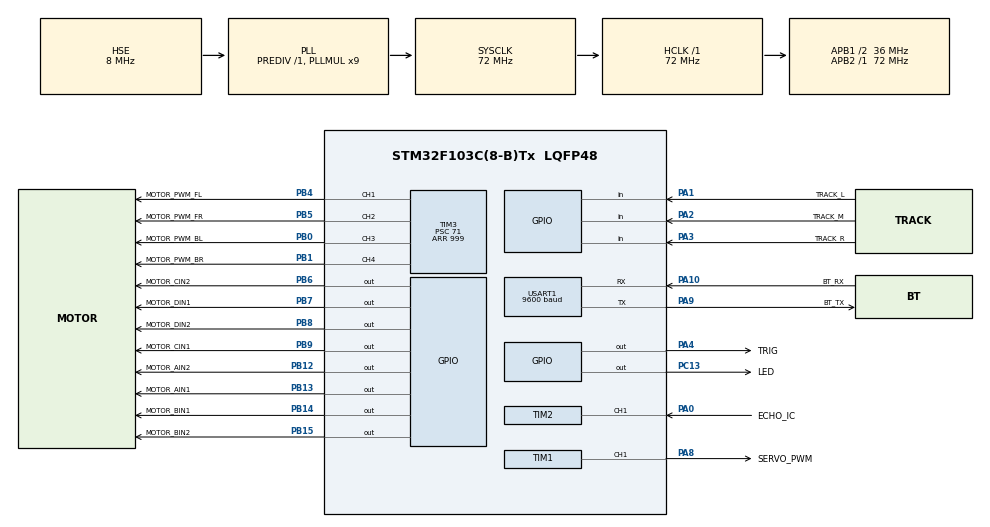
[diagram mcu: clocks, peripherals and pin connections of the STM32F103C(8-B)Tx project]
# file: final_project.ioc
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Mcu.Family=STM32F1
Mcu.Name=STM32F103C(8-B)Tx
Mcu.Package=LQFP48
NVIC.PriorityGroup=NVIC_PRIORITYGROUP_4
NVIC.TIM2_IRQn=true\:0\:0\:false\:false\:true\:true\:true\:true
NVIC.USART1_IRQn=true\:0\:0\:false\:false\:true\:true\:true\:true
PA0-WKUP.GPIO_Label=ECHO_IC
PA0-WKUP.Signal=S_TIM2_CH1_ETR
PA1.GPIO_Label=TRACK_L
PA1.Signal=GPIO_Input
PA10.GPIO_Label=BT_RX
PA10.Mode=Asynchronous
PA10.Signal=USART1_RX
PA13.Mode=Serial_Wire
PA13.Signal=SYS_JTMS-SWDIO
PA14.Mode=Serial_Wire
PA14.Signal=SYS_JTCK-SWCLK
PA2.GPIO_Label=TRACK_M
PA2.Signal=GPIO_Input
PA3.GPIO_Label=TRACK_R
PA3.Signal=GPIO_Input
PA4.GPIO_Label=TRIG
PA4.Signal=GPIO_Output
PA8.GPIO_Label=SERVO_PWM
PA8.Signal=S_TIM1_CH1
PA9.GPIO_Label=BT_TX
PA9.Mode=Asynchronous
PA9.Signal=USART1_TX
PB0.GPIO_Label=MOTOR_PWM_BL
PB0.Signal=S_TIM3_CH3
PB1.GPIO_Label=MOTOR_PWM_BR
PB1.Signal=S_TIM3_CH4
PB12.GPIO_Label=MOTOR_AIN2
PB12.Signal=GPIO_Output
PB13.GPIO_Label=MOTOR_AIN1
PB13.Signal=GPIO_Output
PB14.GPIO_Label=MOTOR_BIN1
PB14.Signal=GPIO_Output
PB15.GPIO_Label=MOTOR_BIN2
PB15.Signal=GPIO_Output
PB4.GPIO_Label=MOTOR_PWM_FL
PB4.Signal=S_TIM3_CH1
PB5.GPIO_Label=MOTOR_PWM_FR
PB5.Signal=S_TIM3_CH2
PB6.GPIO_Label=MOTOR_CIN2
PB6.Signal=GPIO_Output
PB7.GPIO_Label=MOTOR_DIN1
PB7.Signal=GPIO_Output
PB8.GPIO_Label=MOTOR_DIN2
PB8.Signal=GPIO_Output
PB9.GPIO_Label=MOTOR_CIN1
PB9.Signal=GPIO_Output
PC13-TAMPER-RTC.GPIO_Label=LED
PC13-TAMPER-RTC.Signal=GPIO_Output
PD0-OSC_IN.Mode=HSE-External-Oscillator
PD0-OSC_IN.Signal=RCC_OSC_IN
PD1-OSC_OUT.Mode=HSE-External-Oscillator
PD1-OSC_OUT.Signal=RCC_OSC_OUT
ProjectManager.HeapSize=0x200
ProjectManager.StackSize=0x400
ProjectManager.TargetToolchain=MDK-ARM V5
RCC.AHBFreq_Value=72000000
RCC.APB1CLKDivider=RCC_HCLK_DIV2
RCC.APB1Freq_Value=36000000
RCC.APB1TimFreq_Value=72000000
RCC.APB2Freq_Value=72000000
RCC.APB2TimFreq_Value=72000000
RCC.HCLKFreq_Value=72000000
RCC.PLLMUL=RCC_PLL_MUL9
RCC.PLLSourceVirtual=RCC_PLLSOURCE_HSE
RCC.SYSCLKFreq_VALUE=72000000
RCC.SYSCLKSource=RCC_SYSCLKSOURCE_PLLCLK
RCC.USBFreq_Value=72000000
SH.S_TIM1_CH1.0=TIM1_CH1,PWM Generation1 CH1
SH.S_TIM2_CH1_ETR.0=TIM2_CH1,Input_Capture1_from_TI1
SH.S_TIM3_CH1.0=TIM3_CH1,PWM Generation1 CH1
SH.S_TIM3_CH2.0=TIM3_CH2,PWM Generation2 CH2
SH.S_TIM3_CH3.0=TIM3_CH3,PWM Generation3 CH3
SH.S_TIM3_CH4.0=TIM3_CH4,PWM Generation4 CH4
TIM1.Channel-PWM\ Generation1\ CH1=TIM_CHANNEL_1
TIM1.Prescaler=719
TIM2.Channel-Input_Capture1_from_TI1=TIM_CHANNEL_1
TIM3.Channel-PWM\ Generation1\ CH1=TIM_CHANNEL_1
TIM3.Channel-PWM\ Generation2\ CH2=TIM_CHANNEL_2
TIM3.Channel-PWM\ Generation3\ CH3=TIM_CHANNEL_3
TIM3.Channel-PWM\ Generation4\ CH4=TIM_CHANNEL_4
TIM3.Period=999
TIM3.Prescaler=71
USART1.BaudRate=9600
USART1.VirtualMode=VM_ASYNC
VP_TIM1_VS_ClockSourceINT.Mode=Internal
VP_TIM3_VS_ClockSourceINT.Mode=Internal
board=custom

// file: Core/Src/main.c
/* USER CODE BEGIN Header */
/**
  ******************************************************************************
  * @file           : main.c
  * @brief          : Main program body
  ******************************************************************************
  * @attention
  *
  * Copyright (c) 2024 STMicroelectronics.
  * All rights reserved.
  *
  * This software is licensed under terms that can be found in the LICENSE file
  * in the root directory of this software component.
  * If no LICENSE file comes with this software, it is provided AS-IS.
  *
  ******************************************************************************
  */
/* USER CODE END Header */
#include "main.h"
#include "tim.h"
#include "usart.h"
#include "gpio.h"

/* USER CODE BEGIN Includes */
#include "motor.h"
#include "obstacle.h"
#include "track.h"
#include "remote.h"
#include <stdio.h>
#include <string.h>
/* USER CODE END Includes */

/* USER CODE BEGIN PTD */
// 定义小车的工作模式
typedef enum {
    MODE_REMOTE, // 手动遥控模式
    MODE_AVOID,  // 纯避障模式
    MODE_TRACK   // 纯循迹模式
} Car_Mode_t;

// 定义自动模式下的运行状态 (用于避障模式的启停)
typedef enum {
    AUTO_STATE_STOP,
    AUTO_STATE_RUN
} Auto_State_t;

// 定义避障过程的详细状态
typedef enum {
    AVOID_STATE_IDLE,       // 0. 空闲/前进状态
    AVOID_STATE_STOPPING,   // 1. 发现障碍物，正在停车
    AVOID_STATE_SCANNING,   // 2. 正在扫描
    AVOID_STATE_DECIDING,   // 3. 正在决策
    AVOID_STATE_TURNING,    // 4. 正在转向
    AVOID_STATE_BACKING,    // 5. 正在后退
    AVOID_STATE_RECHECK     // 6. 转向/后退后，重新检查
} Avoid_State_t;
/* USER CODE END PTD */

/* USER CODE BEGIN PD */
#define OBSTACLE_DISTANCE_THRESHOLD  15.0f  // 避障触发距离 (cm)
#define DISTANCE_SEND_INTERVAL_MS    500
/* USER CODE END PD */

/* USER CODE BEGIN PV */

// 定义全局变量来存储当前的工作模式和状态
volatile Car_Mode_t g_car_mode = MODE_REMOTE;
volatile Auto_State_t g_auto_state = AUTO_STATE_STOP;
static uint32_t last_distance_send_tick = 0; // +++ ADD: 用于记录上次发送时间的变量

// 避障状态机相关全局变量
volatile Avoid_State_t g_avoid_state = AVOID_STATE_IDLE;
uint32_t g_state_timer = 0; // 用于状态计时的软件定时器
float g_dist_left, g_dist_center, g_dist_right; // 存储扫描结果
static int8_t g_last_avoid_turn = 1; // +++ ADD: 用于记录上一次避障转向 (1=右, -1=左)
/* USER CODE END PV */

void SystemClock_Config(void);
/* USER CODE BEGIN PFP */
void Handle_Mode_Switch(Remote_Command_t command);
void Perform_Remote_Control(Remote_Command_t command);
void Perform_Avoid_Mode(Remote_Command_t command);
void Perform_Track_Mode(void);
void Send_Distance_Data(float distance); // +++ ADD: 声明新的数据发送函数
/* USER CODE END PFP */

int main(void)
{

  /* MCU Configuration--------------------------------------------------------*/

  /* Reset of all peripherals, Initializes the Flash interface and the Systick. */
  HAL_Init();

  /* Configure the system clock */
  SystemClock_Config();

  /* Initialize all configured peripherals */
  MX_GPIO_Init();
  MX_TIM1_Init();
  MX_TIM2_Init();
  MX_TIM3_Init();
  MX_USART1_UART_Init();
  /* USER CODE BEGIN 2 */

  Motor_Init();
  Obstacle_Init();
  Remote_Init();
  Car_Stop();

  /* USER CODE END 2 */

  /* Infinite loop */
  while (1)
  {

    /* USER CODE BEGIN 3 */
    Remote_Command_t command = Remote_Get_Command();
    // 1. 模式切换逻辑 (最高优先级)
    Handle_Mode_Switch(command);

    // 2. 根据当前模式执行对应的任务
    switch(g_car_mode)
    {
        case MODE_REMOTE:
            Perform_Remote_Control(command);
            break;
        case MODE_AVOID:
            Perform_Avoid_Mode(command);
            break;
        case MODE_TRACK:
            Perform_Track_Mode();
            break;
    }

    HAL_Delay(20);
  }
  /* USER CODE END 3 */
}

void SystemClock_Config(void)
{
  RCC_OscInitTypeDef RCC_OscInitStruct = {0};
  RCC_ClkInitTypeDef RCC_ClkInitStruct = {0};

  /** Initializes the RCC Oscillators according to the specified parameters
  * in the RCC_OscInitTypeDef structure.
  */
  RCC_OscInitStruct.OscillatorType = RCC_OSCILLATORTYPE_HSE;
  RCC_OscInitStruct.HSEState = RCC_HSE_ON;
  RCC_OscInitStruct.HSEPredivValue = RCC_HSE_PREDIV_DIV1;
  RCC_OscInitStruct.HSIState = RCC_HSI_ON;
  RCC_OscInitStruct.PLL.PLLState = RCC_PLL_ON;
  RCC_OscInitStruct.PLL.PLLSource = RCC_PLLSOURCE_HSE;
  RCC_OscInitStruct.PLL.PLLMUL = RCC_PLL_MUL9;
  if (HAL_RCC_OscConfig(&RCC_OscInitStruct) != HAL_OK)
  {
    Error_Handler();
  }

  /** Initializes the CPU, AHB and APB buses clocks
  */
  RCC_ClkInitStruct.ClockType = RCC_CLOCKTYPE_HCLK|RCC_CLOCKTYPE_SYSCLK
                              |RCC_CLOCKTYPE_PCLK1|RCC_CLOCKTYPE_PCLK2;
  RCC_ClkInitStruct.SYSCLKSource = RCC_SYSCLKSOURCE_PLLCLK;
  RCC_ClkInitStruct.AHBCLKDivider = RCC_SYSCLK_DIV1;
  RCC_ClkInitStruct.APB1CLKDivider = RCC_HCLK_DIV2;
  RCC_ClkInitStruct.APB2CLKDivider = RCC_HCLK_DIV1;

  if (HAL_RCC_ClockConfig(&RCC_ClkInitStruct, FLASH_LATENCY_2) != HAL_OK)
  {
    Error_Handler();
  }
}

/* USER CODE BEGIN 4 */

/**
  * @brief  处理模式切换的逻辑
  */
void Handle_Mode_Switch(Remote_Command_t command)
{
    // 收到 '1' 指令 -> 切换到循迹模式
    if (command == CMD_MODE_TRACK) {
        if (g_car_mode != MODE_TRACK) {
            g_car_mode = MODE_TRACK;
            g_auto_state = AUTO_STATE_RUN; // 循迹模式默认启动
            g_avoid_state = AVOID_STATE_IDLE; // <-- 增加
            Car_Stop();
            HAL_Delay(100);
        }
    }
    // 收到 '2' 指令 -> 切换到避障模式
    else if (command == CMD_MODE_AVOID) {
        if (g_car_mode != MODE_AVOID) {
            g_car_mode = MODE_AVOID;
            g_auto_state = AUTO_STATE_STOP; // 避障模式默认停止
            g_avoid_state = AVOID_STATE_IDLE; // 重置避障状态机
            Car_Stop();
            HAL_Delay(100);
        }
    }
    // 收到任何方向键 (L, R, G, H, B)，强制切回遥控模式
    else if ((command >= CMD_TURN_LEFT && command <= CMD_SPIN_RIGHT) || command == CMD_BACKWARD) {
        if (g_car_mode != MODE_REMOTE) {
            g_car_mode = MODE_REMOTE;
            g_auto_state = AUTO_STATE_STOP;
            Car_Stop();
        }
    }
}

/**
  * @brief  执行遥控模式的逻辑
  */
void Perform_Remote_Control(Remote_Command_t command)
{
    switch(command) {
        case CMD_FORWARD:    Car_Forward(900); break;
        case CMD_BACKWARD:   Car_Backward(700); break;
        case CMD_TURN_LEFT:  Car_Turn_Left(600); break;
        case CMD_TURN_RIGHT: Car_Turn_Right(600); break;
        case CMD_SPIN_LEFT:  Car_Spin_Left(600); break;
        case CMD_SPIN_RIGHT: Car_Spin_Right(600); break;
        case CMD_STOP:       Car_Stop(); break;
        default: break;
    }
}

/**
  * @brief  执行纯避障模式的逻辑 (非阻塞状态机 + 智能决策)
  * @param  command: 蓝牙指令
  */
void Perform_Avoid_Mode(Remote_Command_t command)
{
    // 1. 启停控制
    if (command == CMD_FORWARD) {
        if (g_auto_state == AUTO_STATE_STOP) {
            g_auto_state = AUTO_STATE_RUN;
            g_avoid_state = AVOID_STATE_IDLE;
        }
    } else if (command == CMD_STOP) {
        if (g_auto_state == AUTO_STATE_RUN) {
            g_auto_state = AUTO_STATE_STOP;
            g_avoid_state = AVOID_STATE_IDLE;
            Car_Stop();
        }
    }

    if (g_auto_state == AUTO_STATE_STOP) return;

    // --- 避障状态机核心 ---
    switch(g_avoid_state)
    {
        case AVOID_STATE_IDLE:
        {
            Car_Forward(600);
            float distance = Obstacle_GetDistance();

            if (HAL_GetTick() - last_distance_send_tick > DISTANCE_SEND_INTERVAL_MS) {
                Send_Distance_Data(distance);
                last_distance_send_tick = HAL_GetTick();
            }

            if (distance > 0 && distance < OBSTACLE_DISTANCE_THRESHOLD) {
                g_avoid_state = AVOID_STATE_STOPPING;
            }
            break;
        }

        case AVOID_STATE_STOPPING:
        {
            Car_Stop();
            g_state_timer = HAL_GetTick();
            g_avoid_state = AVOID_STATE_SCANNING;
            break;
        }

        case AVOID_STATE_SCANNING:
        {
            if (HAL_GetTick() - g_state_timer > 200) {
                Obstacle_Scan(&g_dist_left, &g_dist_center, &g_dist_right);
                g_avoid_state = AVOID_STATE_DECIDING;
            }
            break;
        }

        case AVOID_STATE_DECIDING:
        {
            _Bool is_right_safe = (g_dist_right > OBSTACLE_DISTANCE_THRESHOLD);
            _Bool is_left_safe = (g_dist_left > OBSTACLE_DISTANCE_THRESHOLD);

            if (is_right_safe && !is_left_safe) { // 仅右安全
                Car_Spin_Right(500);
                g_last_avoid_turn = 1;
                g_state_timer = HAL_GetTick();
                g_avoid_state = AVOID_STATE_TURNING;
            }
            else if (!is_right_safe && is_left_safe) { // 仅左安全
                Car_Spin_Left(500);
                g_last_avoid_turn = -1;
                g_state_timer = HAL_GetTick();
                g_avoid_state = AVOID_STATE_TURNING;
            }
            else if (is_right_safe && is_left_safe) { // 两边都安全
                if (g_dist_right > g_dist_left) { // 选更宽的路
                    Car_Spin_Right(500);
                    g_last_avoid_turn = 1;
                } else {
                    Car_Spin_Left(500);
                    g_last_avoid_turn = -1;
                }
                g_state_timer = HAL_GetTick();
                g_avoid_state = AVOID_STATE_TURNING;
            }
            else { // 两边都不安全
                Car_Backward(600);
                g_state_timer = HAL_GetTick();
                g_avoid_state = AVOID_STATE_BACKING;
            }
            break;
        }

        case AVOID_STATE_TURNING:
        {
            if (HAL_GetTick() - g_state_timer > 500) {
                Car_Stop();
                g_avoid_state = AVOID_STATE_RECHECK;
            }
            break;
        }

        case AVOID_STATE_BACKING:
        {
            if (HAL_GetTick() - g_state_timer > 2000) {
                // 后退完成后，根据"记忆"进行强制转向
                if (g_last_avoid_turn == 1) {
                    Car_Spin_Left(600); // 上次向右碰壁，这次强制向左
                    g_last_avoid_turn = -1;
                } else {
                    Car_Spin_Right(600); // 上次向左碰壁，这次强制向右
                    g_last_avoid_turn = 1;
                }
                g_state_timer = HAL_GetTick();
                g_avoid_state = AVOID_STATE_TURNING; // 进入转向状态
            }
            break;
        }

        case AVOID_STATE_RECHECK:
        {
            g_avoid_state = AVOID_STATE_IDLE;
            break;
        }
    }
}

/**
  * @brief  执行纯循迹模式的逻辑
  */
void Perform_Track_Mode(void)
{
    Track_Status_t track_status = Track_Get_Status();
    switch(track_status) {
        case TRACK_STATE_ON_LINE:       Car_Forward(700); break;
        case TRACK_STATE_DEVIATE_LEFT:  Car_Spin_Right(600); break;
        case TRACK_STATE_DEVIATE_RIGHT: Car_Spin_Left(600); break;
        case TRACK_STATE_ALL_ON_LINE:
        case TRACK_STATE_OFF_LINE:
        default:
            Car_Stop();
            break;
    }
}

/**
  * @brief  通过蓝牙串口发送距离数据 (使用HAL库函数)
  * @param  distance: 要发送的距离值
  * @retval None
  */
void Send_Distance_Data(float distance)
{
    char tx_buffer[32]; // 创建一个足够大的发送缓冲区
    int index = 0;

    // 1. 添加数据头 "D:"
    tx_buffer[index++] = 'D';
    tx_buffer[index++] = ':';

    // 2. 处理无效距离 (例如超时返回的-1.0)
    if (distance < 0) {
        tx_buffer[index++] = '-';
        tx_buffer[index++] = '1';
    }
    else
    {
        // 3. 将浮点数转换为整数部分和小数部分 (只保留一位小数)
        int integer_part = (int)distance;
        int fractional_part = (int)((distance - integer_part) * 10);

        // 4. 手动转换整数部分为字符串
        if (integer_part == 0) {
            tx_buffer[index++] = '0';
        } else {
            char temp_buffer[10];
            int i = 0;
            while (integer_part > 0) {
                temp_buffer[i++] = (integer_part % 10) + '0';
                integer_part /= 10;
            }
            // 反转数字字符串
            while (i > 0) {
                tx_buffer[index++] = temp_buffer[--i];
            }
        }

        // 5. 添加小数点
        tx_buffer[index++] = '.';

        // 6. 添加小数部分
        tx_buffer[index++] = fractional_part + '0';
    }

    // 7. 添加结束符 "\n"
    tx_buffer[index++] = '\n';

    // 8. 调用HAL库函数发送
    HAL_UART_Transmit(&huart1, (uint8_t*)tx_buffer, index, 100);
}
/* USER CODE END 4 */

void Error_Handler(void)
{
  __disable_irq();
  while (1)
  {
  }
}
